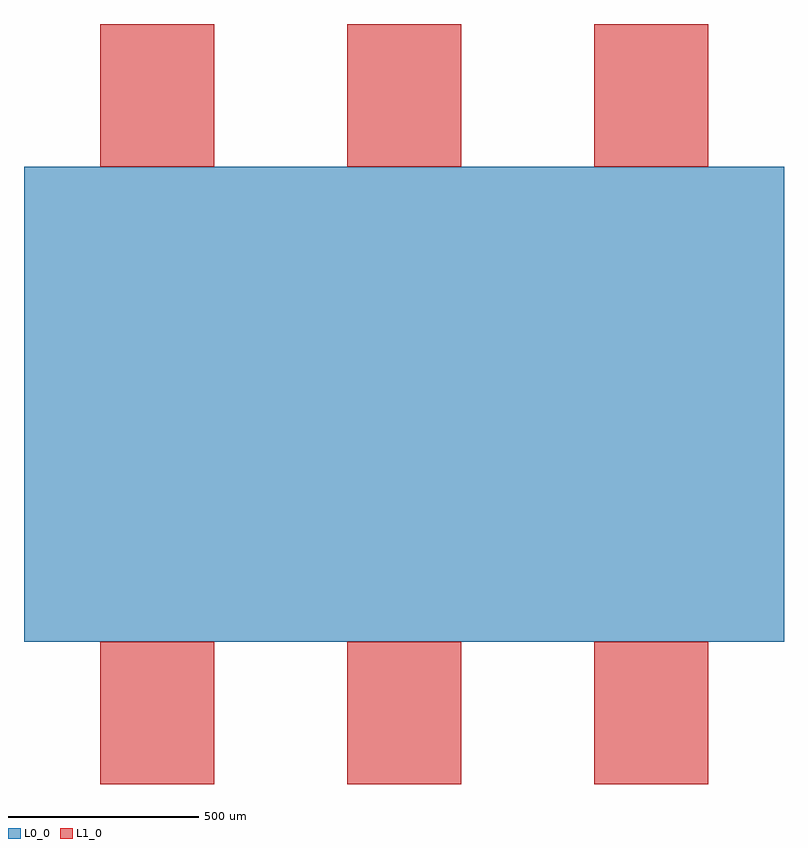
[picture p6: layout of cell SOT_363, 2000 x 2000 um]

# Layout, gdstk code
import gdstk
lib = gdstk.Library(unit=1e-6, precision=1e-09)
def R(c, l, rs):  # rectangles x0, y0, x1, y1
    for r in rs: c.add(gdstk.rectangle(r[:2], r[2:], *l))
def A(c, l, x, y, w, h, nx, ny, dx, dy):  # array of equal rectangles
    R(c, l, [(x+i*dx, y+j*dy, x+i*dx+w, y+j*dy+h) for i in range(nx) for j in range(ny)])
L0_0 = (0, 0)
L1_0 = (1, 0)
L99_1 = (99, 1)
L99_2 = (99, 2)
L99_3 = (99, 3)
L99_4 = (99, 4)
L99_5 = (99, 5)
L99_6 = (99, 6)

sot_363 = lib.new_cell('SOT_363')
R(sot_363, L0_0, [(0,0,2000,1250)])
A(sot_363, L1_0, 200, -375, 300, 375, 3, 2, 650, 1625)
sot_363.add(gdstk.FlexPath([(500,0),(200,0)], 0, ends="round", simple_path=True, layer=99, datatype=1))  # L99_1
sot_363.add(gdstk.FlexPath([(1150,0),(850,0)], 0, ends="round", simple_path=True, layer=99, datatype=2))  # L99_2
sot_363.add(gdstk.FlexPath([(1800,0),(1500,0)], 0, ends="round", simple_path=True, layer=99, datatype=3))  # L99_3
sot_363.add(gdstk.FlexPath([(1500,1250),(1800,1250)], 0, ends="round", simple_path=True, layer=99, datatype=4))  # L99_4
sot_363.add(gdstk.FlexPath([(850,1250),(1150,1250)], 0, ends="round", simple_path=True, layer=99, datatype=5))  # L99_5
sot_363.add(gdstk.FlexPath([(200,1250),(500,1250)], 0, ends="round", simple_path=True, layer=99, datatype=6))  # L99_6

lib.write_gds('SOT_363.gds')
